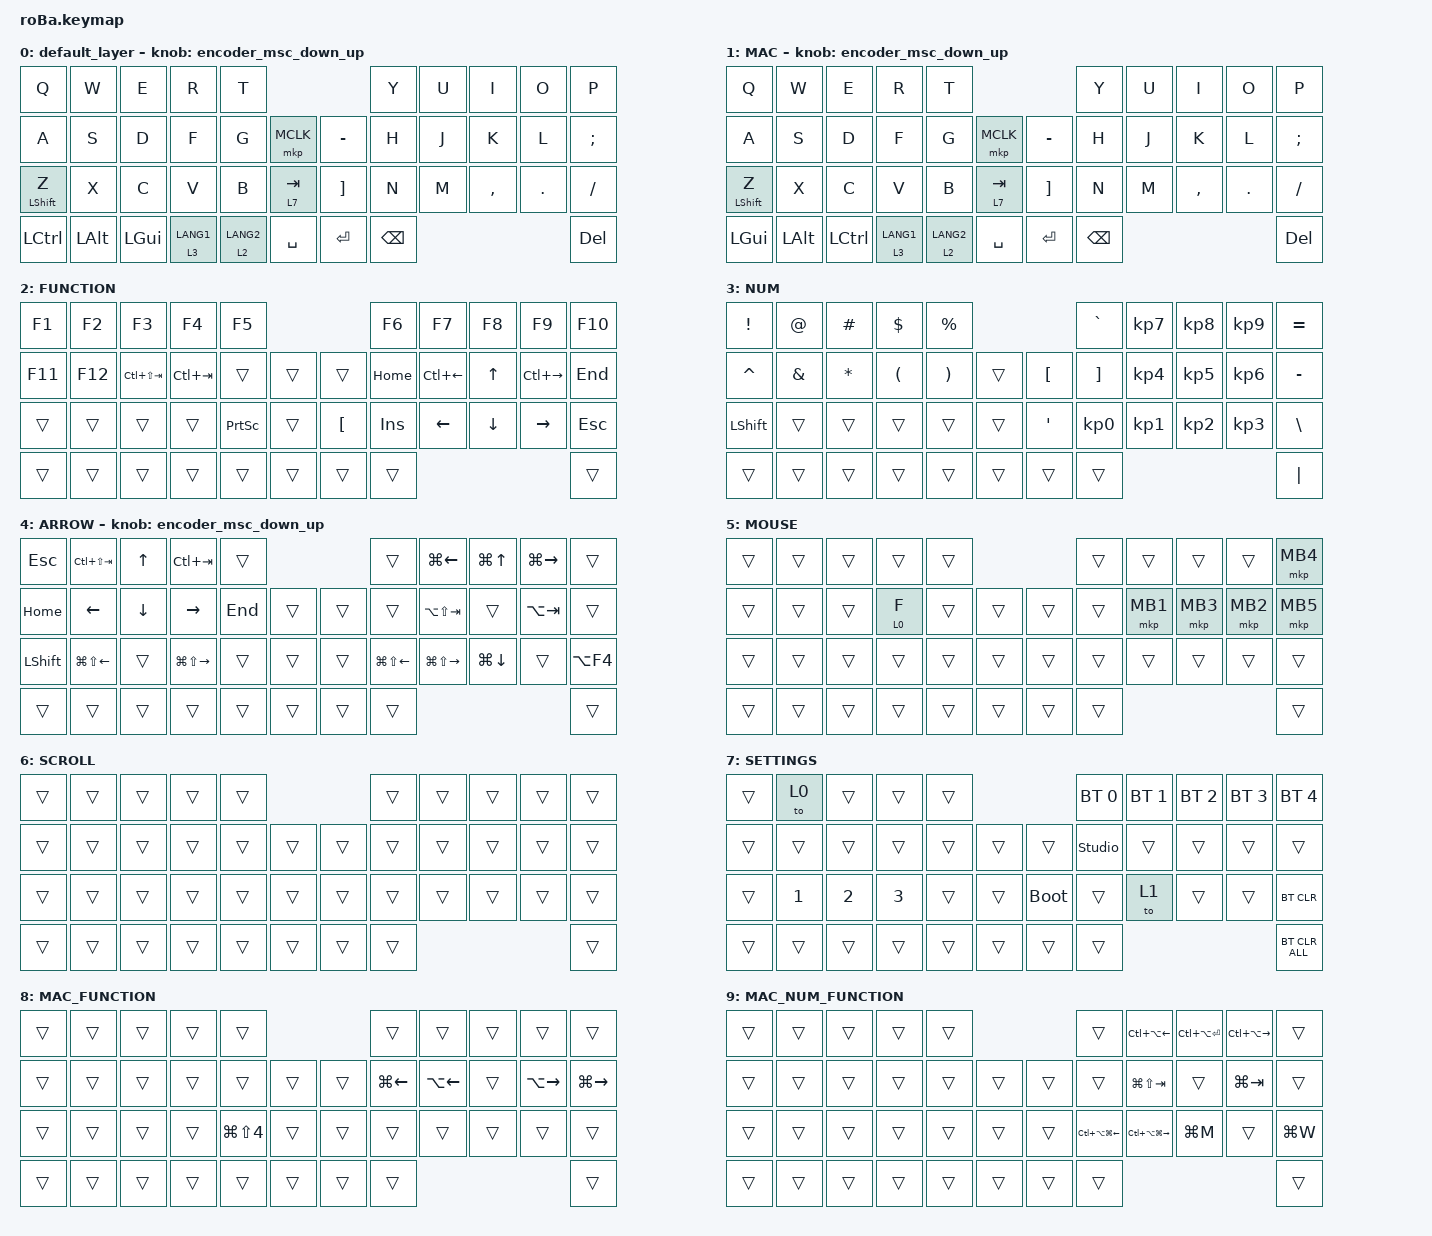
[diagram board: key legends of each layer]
#include <behaviors.dtsi>
#include <dt-bindings/zmk/bt.h>
#include <dt-bindings/zmk/keys.h>
#include <dt-bindings/zmk/pointing.h>
#define ZMK_POINTING_DEFAULT_SCRL_VAL 80

&mt {
    flavor = "balanced";
    quick-tap-ms = <0>;
};

/ {
    combos {
        compatible = "zmk,combos";

        tab {
            bindings = <&kp TAB>;
            key-positions = <11 12>;
        };

        shift_tab {
            bindings = <&kp LS(TAB)>;
            key-positions = <12 13>;
        };

        // Windows 側: IME オフ + Windows ベースレイヤーへ復帰
        muhennkann {
            bindings = <&to_layer_0 INT_MUHENKAN>;
            key-positions = <11 10>;
            layers = <0 2 3 4 5 6 7>;
        };

        // Mac 側: 英数 + Mac ベースレイヤーへ復帰
        eisuu_mac {
            bindings = <&to_layer_1 LANG2>;
            key-positions = <11 10>;
            layers = <1 8>;
        };

        double_quotation {
            bindings = <&kp DOUBLE_QUOTES>;
            key-positions = <20 21>;
        };

        eq {
            bindings = <&kp EQUAL>;
            key-positions = <24 25>;
        };
    };

    macros {
        to_layer_0: to_layer_0 {
            compatible = "zmk,behavior-macro-one-param";
            #binding-cells = <1>;
            bindings = <&to 0 &macro_param_1to1 &kp MACRO_PLACEHOLDER>;
            label = "TO_LAYER_0";
        };

        to_layer_1: to_layer_1 {
            compatible = "zmk,behavior-macro-one-param";
            #binding-cells = <1>;
            bindings = <&to 1 &macro_param_1to1 &kp MACRO_PLACEHOLDER>;
            label = "TO_LAYER_1";
        };
    };

    // MAC(1) と FUNCTION(2) が同時に有効なとき MAC_FUNCTION(8) を上乗せする。
    // 8 > 2 > 1 なので、MAC_FUNCTION の &trans は FUNCTION → MAC の順に解決される。
    conditional_layers {
        compatible = "zmk,conditional-layers";

        mac_function {
            if-layers = <1 2>;
            then-layer = <8>;
        };

        // NUM(3) と FUNCTION(2) の同時押しで ARROW(4) を有効化する。
        num_function {
            if-layers = <2 3>;
            then-layer = <4>;
        };

        // Mac ベースで NUM(3) と FUNCTION(2) を同時押ししたとき、
        // Windows 用 ARROW(4) の該当キーだけを Mac 用ショートカットで上書きする。
        mac_num_function {
            if-layers = <1 2 3>;
            then-layer = <9>;
        };
    };

    behaviors {
        lt_to_layer_0: lt_to_layer_0 {
            compatible = "zmk,behavior-hold-tap";
            label = "LAYER_TAP_TO_0";
            bindings = <&mo>, <&to_layer_0>;

            #binding-cells = <2>;
            tapping-term-ms = <200>;
        };
        encoder_msc_down_up: encoder_msc_down_up {
          compatible = "zmk,behavior-sensor-rotate";
          label = "ENCODER_MSC_DOWN_UP";
          #sensor-binding-cells = <0>;
          bindings = <&msc SCRL_DOWN>, <&msc SCRL_UP>;
          tap-ms = <20>;
      };
    };

    keymap {
        compatible = "zmk,keymap";

        default_layer {
            bindings = <
&kp Q             &kp W         &kp E         &kp R        &kp T                                          &kp Y          &kp U  &kp I      &kp O    &kp P
&kp A             &kp S         &kp D         &kp F        &kp G        &mkp MCLK      &kp MINUS          &kp H          &kp J  &kp K      &kp L    &kp SEMI
&mt LEFT_SHIFT Z  &kp X         &kp C         &kp V        &kp B        &lt 7 TAB      &kp RIGHT_BRACKET  &kp N          &kp M  &kp COMMA  &kp DOT  &kp SLASH
&kp LCTRL         &kp LEFT_ALT  &kp LEFT_GUI  &lt 3 LANG1  &lt 2 LANG2  &kp SPACE      &kp ENTER          &kp BACKSPACE                             &kp DEL
            >;

            sensor-bindings = <&encoder_msc_down_up>;
        };

        // Mac 用ベースレイヤー。default_layer との差分は最下段の修飾キーのみで、
        // LCTRL の位置に LEFT_GUI(Command) を置くことでコピー/ペースト等の指使いを揃える。
        // IME キー(LANG1=かな / LANG2=英数)は元々 Mac 準拠なのでそのまま。
        MAC {
            bindings = <
&kp Q             &kp W         &kp E         &kp R        &kp T                                          &kp Y          &kp U  &kp I      &kp O    &kp P
&kp A             &kp S         &kp D         &kp F        &kp G        &mkp MCLK      &kp MINUS          &kp H          &kp J  &kp K      &kp L    &kp SEMI
&mt LEFT_SHIFT Z  &kp X         &kp C         &kp V        &kp B        &lt 7 TAB      &kp RIGHT_BRACKET  &kp N          &kp M  &kp COMMA  &kp DOT  &kp SLASH
&kp LEFT_GUI      &kp LEFT_ALT  &kp LCTRL     &lt 3 LANG1  &lt 2 LANG2  &kp SPACE      &kp ENTER          &kp BACKSPACE                             &kp DEL
            >;

            sensor-bindings = <&encoder_msc_down_up>;
        };

        FUNCTION {
            bindings = <
&kp F1   &kp F2   &kp F3  &kp F4  &kp F5                                         &kp F6    &kp F7          &kp F8          &kp F9               &kp F10
&kp F11  &kp F12  &kp LC(LS(TAB))  &kp LC(TAB)  &trans           &trans      &trans            &kp HOME  &kp LC(LEFT)    &kp UP_ARROW    &kp LC(RIGHT_ARROW)  &kp END
&trans   &trans   &trans  &trans  &kp PRINTSCREEN  &trans      &kp LEFT_BRACKET  &kp INS   &kp LEFT_ARROW  &kp DOWN_ARROW  &kp RIGHT_ARROW      &kp ESC
&trans   &trans   &trans  &trans  &trans           &trans      &trans            &trans                                                         &trans
            >;
        };

        NUM {
            bindings = <
&kp EXCLAMATION  &kp AT_SIGN    &kp HASH      &kp DOLLAR            &kp PERCENT                                          &kp GRAVE          &kp KP_NUMBER_7  &kp KP_NUMBER_8  &kp KP_NUMBER_9  &kp EQUAL
&kp CARET        &kp AMPERSAND  &kp ASTERISK  &kp LEFT_PARENTHESIS  &kp RIGHT_PARENTHESIS  &trans      &kp LEFT_BRACKET  &kp RIGHT_BRACKET  &kp KP_NUMBER_4  &kp KP_NUMBER_5  &kp KP_NUMBER_6  &kp MINUS
&kp LEFT_SHIFT   &trans         &trans        &trans                &trans                 &trans      &kp SINGLE_QUOTE  &kp KP_NUMBER_0    &kp KP_NUMBER_1  &kp KP_NUMBER_2  &kp KP_NUMBER_3  &kp BACKSLASH
&trans           &trans         &trans        &trans                &trans                 &trans      &trans            &trans                                                                &kp PIPE
            >;
        };

        // FUNCTION(2) + NUM(3): 右手でウィンドウ操作。
        // U/I/O = 左半分/最大化/右半分、J/L = 前/次のアプリ、
        // N/M = 左/右のモニターへ移動、, / / = 最小化/閉じる。
        ARROW {
            bindings = <
&kp ESCAPE      &kp LC(LS(TAB))         &kp UP_ARROW    &kp LC(TAB)              &trans                       &trans  &kp LG(LEFT_ARROW)  &kp LG(UP_ARROW)  &kp LG(RIGHT_ARROW)  &trans
&kp HOME        &kp LEFT_ARROW          &kp DOWN_ARROW  &kp RIGHT_ARROW          &kp END  &trans      &trans  &trans            &kp LA(LS(TAB))   &trans  &kp LA(TAB)  &trans
&kp LEFT_SHIFT  &kp LG(LS(LEFT_ARROW))  &trans          &kp LG(LS(RIGHT_ARROW))  &trans   &trans      &trans  &kp LG(LS(LEFT_ARROW))  &kp LG(LS(RIGHT_ARROW))  &kp LG(DOWN_ARROW)  &trans  &kp LA(F4)
&trans          &trans                  &trans          &trans                   &trans   &trans      &trans  &trans                          &trans
            >;

            sensor-bindings = <&encoder_msc_down_up>;
        };

        MOUSE {
            bindings = <
&trans  &trans  &trans  &trans   &trans                      &trans  &trans    &trans    &trans    &mkp MB4
&trans  &trans  &trans  &lt 0 F  &trans  &trans      &trans  &trans  &mkp MB1  &mkp MB3  &mkp MB2  &mkp MB5
&trans  &trans  &trans  &trans   &trans  &trans      &trans  &trans  &trans    &trans    &trans    &trans
&trans  &trans  &trans  &trans   &trans  &trans      &trans  &trans                                &trans
            >;
        };

        SCROLL {
            bindings = <
&trans  &trans  &trans  &trans  &trans                      &trans  &trans  &trans  &trans  &trans
&trans  &trans  &trans  &trans  &trans  &trans      &trans  &trans  &trans  &trans  &trans  &trans
&trans  &trans  &trans  &trans  &trans  &trans      &trans  &trans  &trans  &trans  &trans  &trans
&trans  &trans  &trans  &trans  &trans  &trans      &trans  &trans                          &trans
            >;
        };

        // W = Windows ベース(0)、M = Mac ベース(1)。トグルではなく明示指定なので、
        // 現在どちらのベースにいるか分からなくても必ず目的の状態に入れる。
        SETTINGS {
            bindings = <
&trans  &to 0         &trans        &trans        &trans                           &bt BT_SEL 0  &bt BT_SEL 1  &bt BT_SEL 2  &bt BT_SEL 3  &bt BT_SEL 4
&trans  &trans        &trans        &trans        &trans  &trans      &trans       &studio_unlock       &trans        &trans        &trans        &trans
&trans  &kp NUMBER_1  &kp NUMBER_2  &kp NUMBER_3  &trans  &trans      &bootloader  &trans        &to 1         &trans        &trans        &bt BT_CLR
&trans  &trans        &trans        &trans        &trans  &trans      &trans       &trans                                                  &bt BT_CLR_ALL
            >;
        };

        // MAC(1) + FUNCTION(2) のときだけ conditional-layers 経由で有効になる差分レイヤー。
        // &trans の位置は FUNCTION(2) の内容にフォールスルーするので、Mac で意味が変わる
        // カーソル移動とスクリーンショットだけを上書きしている。
        MAC_FUNCTION {
            bindings = <
&trans  &trans  &trans  &trans  &trans                                    &trans        &trans        &trans  &trans         &trans
&trans  &trans  &trans  &trans  &trans                  &trans  &trans    &kp LG(LEFT)  &kp LA(LEFT)  &trans  &kp LA(RIGHT)  &kp LG(RIGHT)
&trans  &trans  &trans  &trans  &kp LG(LS(NUMBER_4))    &trans  &trans    &trans        &trans        &trans  &trans         &trans
&trans  &trans  &trans  &trans  &trans                  &trans  &trans    &trans                                             &trans
            >;
        };

        // Mac + NUM(3) + FUNCTION(2): Windows 用ウィンドウ操作を Mac 用に置換。
        // U/I/O と N/M は Rectangle の既定ショートカットを使う。
        MAC_NUM_FUNCTION {
            bindings = <
&trans  &trans  &trans  &trans  &trans                      &trans  &kp LC(LA(LEFT_ARROW))  &kp LC(LA(ENTER))  &kp LC(LA(RIGHT_ARROW))  &trans
&trans  &trans  &trans  &trans  &trans  &trans      &trans  &trans  &kp LG(LS(TAB))  &trans  &kp LG(TAB)  &trans
&trans  &trans  &trans  &trans  &trans  &trans      &trans  &kp LC(LA(LG(LEFT_ARROW)))  &kp LC(LA(LG(RIGHT_ARROW)))  &kp LG(M)  &trans  &kp LG(W)
&trans  &trans  &trans  &trans  &trans  &trans      &trans  &trans                          &trans
            >;
        };
    };

};
